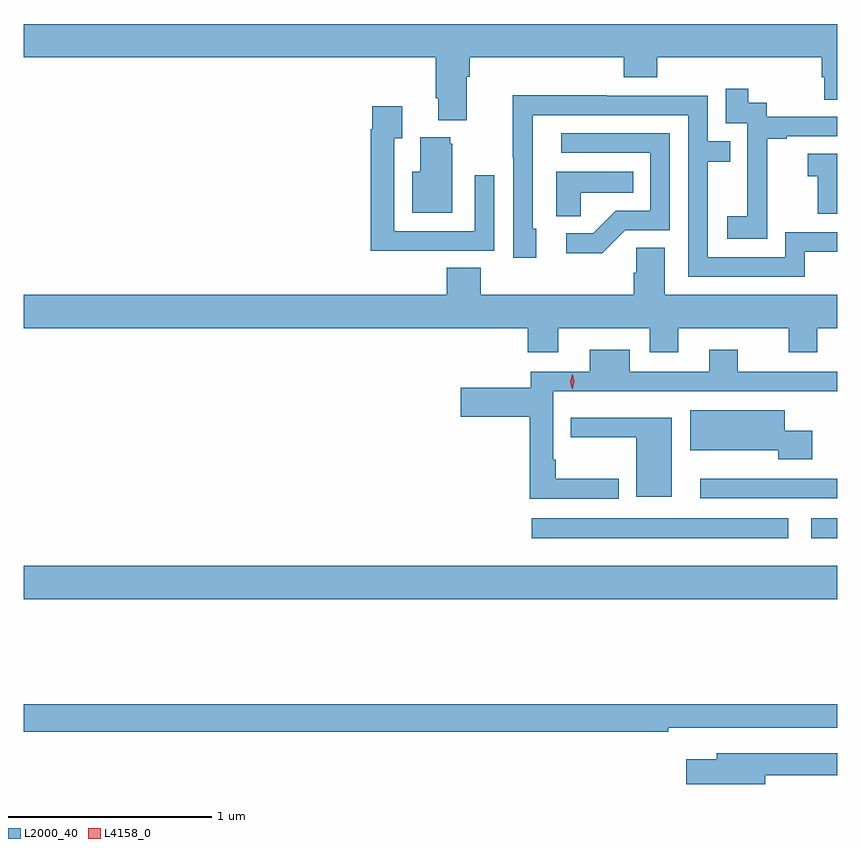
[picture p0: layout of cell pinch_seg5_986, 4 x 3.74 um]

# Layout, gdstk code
import gdstk
lib = gdstk.Library(unit=1e-6, precision=1e-09)
def R(c, l, rs):  # rectangles x0, y0, x1, y1
    for r in rs: c.add(gdstk.rectangle(r[:2], r[2:], *l))
def P(c, l, *ps):  # polygons
    for p in ps: c.add(gdstk.Polygon(p, *l))
L2000_40 = (2000, 40)
L4158_0 = (4158, 0)

pinch_seg5_986 = lib.new_cell('pinch_seg5_986')
R(pinch_seg5_986, L2000_40, [(731.508,868.748,735.508,868.912), (734.007,869.048,735.268,869.145), (735.381,869.048,735.508,869.145)])
P(pinch_seg5_986, L2000_40, [(733.687,871.316),(733.7,871.316),(733.7,871.412),(734.459,871.412),(734.459,871.313),(734.624,871.313),(734.624,871.412),(735.431,871.412),(735.431,871.314),(735.443,871.314),(735.443,871.204),(735.508,871.204),(735.508,871.576),(731.508,871.576),(731.508,871.412),(733.535,871.412),(733.535,871.21),(733.547,871.21),(733.547,871.103),(733.687,871.103)],
  [(735.165,870.727),(735.164,870.727),(735.164,871.011),(735.259,871.011),(735.259,871.023),(735.508,871.023),(735.508,871.119),(735.162,871.119),(735.162,871.188),(735.07,871.188),(735.07,871.258),(734.961,871.258),(734.961,871.089),(735.066,871.089),(735.066,870.86),(735.065,870.86),(735.065,870.631),(734.967,870.631),(734.967,870.521),(735.165,870.521)],
  [(735.349,870.456),(735.508,870.456),(735.508,870.552),(735.252,870.552),(735.252,870.429),(734.871,870.429),(734.871,870.898),(734.981,870.898),(734.981,870.999),(734.871,870.999),(734.871,871.224),(734.375,871.224),(734.375,871.226),(733.912,871.226),(733.912,870.919),(733.914,870.919),(733.914,870.426),(734.029,870.426),(734.029,870.57),(734.01,870.57),(734.01,871.128),(734.775,871.128),(734.775,870.333),(735.349,870.333)],
  [(733.505,870.462),(733.821,870.462),(733.821,870.832),(733.725,870.832),(733.725,870.558),(733.329,870.558),(733.329,871.015),(733.369,871.015),(733.369,871.171),(733.221,871.171),(733.221,871.058),(733.213,871.058),(733.213,870.461),(733.505,870.461)],
  [(734.466,870.561),(734.685,870.561),(734.685,871.038),(734.151,871.038),(734.151,870.942),(734.589,870.942),(734.589,870.657),(734.42,870.657),(734.309,870.546),(734.175,870.546),(734.175,870.449),(734.353,870.449)],
  [(733.615,870.987),(733.604,870.987),(733.604,871.018),(733.457,871.018),(733.457,870.85),(733.418,870.85),(733.418,870.647),(733.615,870.647)],
  [(735.508,870.937),(735.363,870.937),(735.363,870.827),(735.412,870.827),(735.412,870.642),(735.508,870.642)],
  [(734.247,870.746),(734.504,870.746),(734.504,870.85),(734.126,870.85),(734.126,870.631),(734.247,870.631)],
  [(734.137,870.08),(734.585,870.08),(734.585,869.963),(734.725,869.963),(734.725,870.08),(735.269,870.08),(735.269,869.963),(735.409,869.963),(735.409,870.08),(735.508,870.08),(735.508,870.244),(734.659,870.244),(734.659,870.476),(734.52,870.476),(734.52,870.353),(734.507,870.353),(734.507,870.244),(733.754,870.244),(733.754,870.377),(733.589,870.377),(733.589,870.244),(731.508,870.244),(731.508,870.08),(733.985,870.08),(733.985,869.963),(734.137,869.963)],
  [(734.434,869.339),(734.125,869.339),(734.125,869.434),(734.112,869.434),(734.112,869.769),(735.508,869.769),(735.508,869.865),(735.019,869.865),(735.019,869.974),(734.879,869.974),(734.879,869.865),(734.488,869.865),(734.488,869.974),(734.291,869.974),(734.291,869.865),(734,869.865),(734,869.787),(733.656,869.787),(733.656,869.645),(733.996,869.645),(733.996,869.241),(734.434,869.241)],
  [(735.385,869.577),(735.25,869.577),(735.25,869.677),(734.786,869.677),(734.786,869.48),(735.218,869.48),(735.218,869.435),(735.385,869.435)],
  [(734.695,869.64),(734.305,869.64),(734.305,869.639),(734.197,869.639),(734.197,869.543),(734.519,869.543),(734.519,869.252),(734.695,869.252)],
  [(735.508,869.34),(735.122,869.34),(735.122,869.341),(734.835,869.341),(734.835,869.244),(735.508,869.244)],
  [(734.678,868.116),(735.508,868.116),(735.508,868.232),(731.508,868.232),(731.508,868.096),(734.678,868.096)],
  [(735.154,867.882),(735.508,867.882),(735.508,867.99),(734.915,867.99),(734.915,867.961),(734.766,867.961),(734.766,867.839),(735.154,867.839)])
P(pinch_seg5_986, L4158_0, [(734.204,869.781),(734.196,869.817),(734.206,869.852),(734.206,869.853),(734.207,869.852),(734.215,869.817),(734.205,869.781),(734.205,869.781)])

lib.write_gds('pinch_seg5_986.gds')
